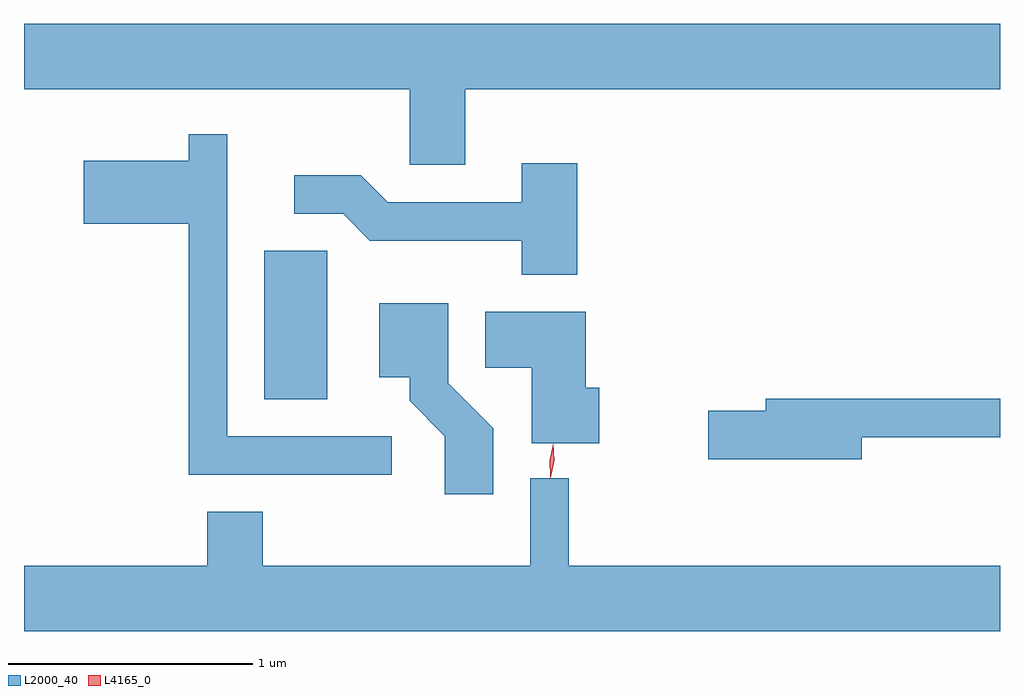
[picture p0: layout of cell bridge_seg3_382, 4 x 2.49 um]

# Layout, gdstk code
import gdstk
lib = gdstk.Library(unit=1e-6, precision=1e-09)
def R(c, l, rs):  # rectangles x0, y0, x1, y1
    for r in rs: c.add(gdstk.rectangle(r[:2], r[2:], *l))
def P(c, l, *ps):  # polygons
    for p in ps: c.add(gdstk.Polygon(p, *l))
L2000_40 = (2000, 40)
L4165_0 = (4165, 0)

bridge_seg3_382 = lib.new_cell('bridge_seg3_382')
R(bridge_seg3_382, L2000_40, [(556.436,1131.406,556.694,1132.014)])
P(bridge_seg3_382, L2000_40, [(557.259,1132.676),(559.451,1132.676),(559.451,1132.944),(555.451,1132.944),(555.451,1132.676),(557.031,1132.676),(557.031,1132.366),(557.259,1132.366)],
  [(556.958,1131.254),(556.284,1131.254),(556.284,1132.493),(556.126,1132.493),(556.126,1132.384),(555.696,1132.384),(555.696,1132.126),(556.126,1132.126),(556.126,1131.096),(556.958,1131.096)],
  [(557.719,1132.374),(557.491,1132.374),(557.491,1132.214),(556.942,1132.214),(556.832,1132.324),(556.558,1132.324),(556.558,1132.166),(556.759,1132.166),(556.869,1132.056),(557.491,1132.056),(557.491,1131.916),(557.719,1131.916)],
  [(557.374,1131.287),(557.189,1131.472),(557.189,1131.799),(556.906,1131.799),(556.906,1131.496),(557.031,1131.496),(557.031,1131.399),(557.176,1131.254),(557.176,1131.016),(557.374,1131.016)],
  [(557.809,1131.454),(557.754,1131.454),(557.754,1131.764),(557.341,1131.764),(557.341,1131.536),(557.531,1131.536),(557.531,1131.226),(557.809,1131.226)],
  [(558.884,1131.251),(559.451,1131.251),(559.451,1131.409),(558.491,1131.409),(558.491,1131.359),(558.256,1131.359),(558.256,1131.161),(558.884,1131.161)],
  [(559.451,1130.724),(557.684,1130.724),(557.684,1131.083),(557.526,1131.083),(557.526,1130.724),(556.429,1130.724),(556.429,1130.944),(556.201,1130.944),(556.201,1130.724),(555.451,1130.724),(555.451,1130.456),(559.451,1130.456)])
P(bridge_seg3_382, L4165_0, [(557.608,1131.085),(557.608,1131.086),(557.605,1131.156),(557.62,1131.224),(557.621,1131.224),(557.621,1131.224),(557.624,1131.154),(557.609,1131.086)])

lib.write_gds('bridge_seg3_382.gds')
